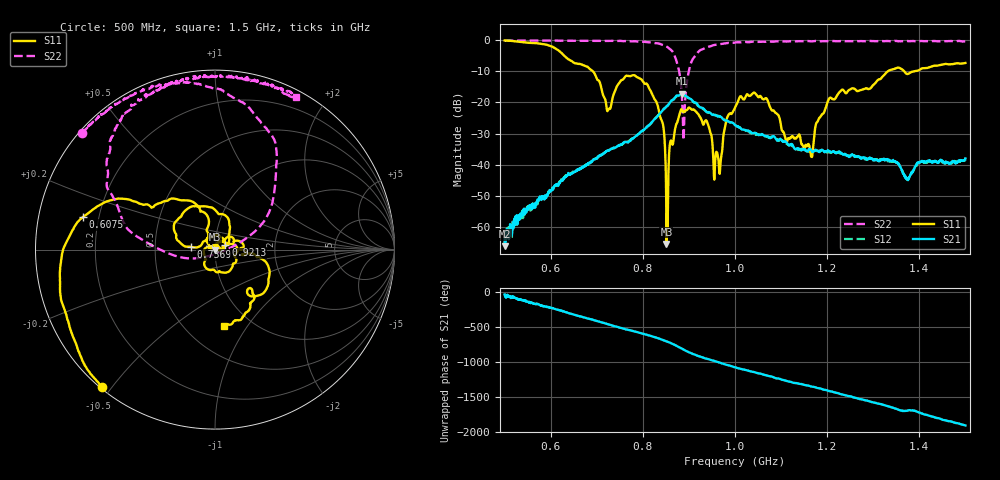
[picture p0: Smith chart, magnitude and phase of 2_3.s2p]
!Agilent Technologies,E8364B,US42250235,A.06.04.32
!Agilent E8364B: A.06.04.32
!Date: Friday, January 15, 2021 12:06:35
!Correction: S11(Full 2 Port(1,2)) S21(Full 2 Port(1,2)) S12(Full 2 Port(1,2)) S22(Full 2 Port(1,2))
!S2P File: Measurements: S11, S21, S12, S22:
# Hz S  dB  R 50
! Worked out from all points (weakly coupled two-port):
!   1601 points, 500 MHz to 1.5 GHz, reference 50 ohm
!   highest |S21| = -17.17 dB at 885 MHz (marker M1); lowest = -66.2 dB at 501.2 MHz (marker M2)
!   lowest |S11| = -65.5 dB at 851.2 MHz (marker M3), VSWR 1.00, Z = 50.1 - j0.0169 ohm
!   |S11| at or under -10 dB: 691.7 MHz to 1.332 GHz (639.9 MHz wide, 63.3 % of centre); 1.367 GHz to 1.388 GHz (21.19 MHz wide, 1.54 % of centre)
!   |S22| runs from -32.1 to -0.1 dB; largest |S21 - S12| = 0.0042
!   S11 on the Smith chart (normalised r, x): 500 MHz: 0.01, -0.47; 607.5 MHz: 0.14, +0.12; 736.9 MHz: 0.76, +0.02; 921.2 MHz: 1.12, +0.05; 1.5 GHz: 0.75, -0.79
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5e8  -0.08 -129.2  -61.92 -40.6  -65.28 -47.5  -0.13 138.7
5.0125e8  -0.10 -129.7  -66.16 -63.1  -62.97 -65.0  -0.12 138.7
6.075e8  -2.42 166.1  -46.92 116.7  -46.61 119.0  -0.17 128.1
6.66875e8  -7.77 141.3  -41.10 2.7  -41.02 2.6  -0.15 122.4
7.25e8  -22.19 143.3  -35.38 -105.4  -35.31 -105.8  -0.24 114.5
7.36875e8  -17.30 173.3  -34.52 -129.3  -34.63 -129.4  -0.25 113.9
7.81875e8  -11.25 119.4  -31.15 153.6  -31.27 152.8  -0.30 104.6
8.3375e8  -21.89 24.3  -24.07 55.5  -24.08 54.1  -1.04 87.1
8.4375e8  -27.06 6.9  -22.39 32.0  -22.33 29.7  -1.55 80.3
8.5125e8  -65.48 -18.5  -21.24 12.2  -21.39 11.2  -1.98 74.8
8.74375e8  -26.46 138.3  -17.74 -56.9  -17.96 -57.6  -7.38 40.9
8.85e8  -22.25 113.0  -17.17 -93.4  -17.33 -94.2  -18.69 12.3
9.2125e8  -23.99 22.6  -21.18 160.4  -21.31 160.7  -3.60 151.6
9.66875e8  -42.93 50.6  -24.47 68.7  -24.47 66.5  -1.25 130.3
1e9  -21.70 23.6  -27.22 1.6  -27.25 0.7  -0.76 120.6
1.066875e9  -18.59 -106.3  -30.88 -110.4  -30.78 -113.1  -0.49 109.8
1.11125e9  -32.48 128.0  -32.66 168.4  -33.18 167.0  -0.41 104.5
1.166875e9  -37.51 41.6  -35.67 86.0  -35.69 87.6  -0.37 98.0
1.205e9  -18.61 36.1  -35.80 23.6  -36.01 22.2  -0.29 93.3
1.33375e9  -9.81 -20.5  -38.38 163.2  -38.68 161.4  -0.28 81.3
1.374375e9  -10.88 -49.5  -44.82 105.1  -44.49 103.1  -0.27 76.9
1.5e9  -7.31 -83.2  -37.99 -106.9  -38.82 -111.0  -0.32 62.2
